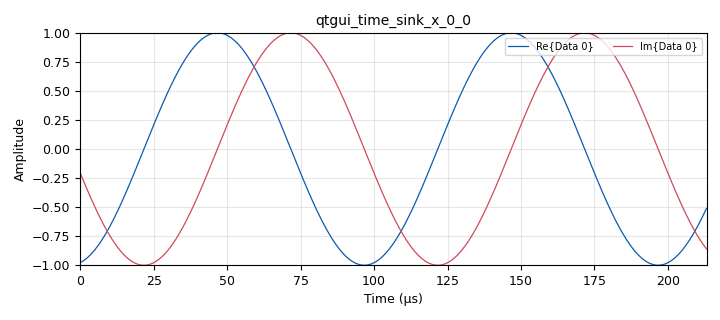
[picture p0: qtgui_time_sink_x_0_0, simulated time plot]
options:
  parameters:
    author: moon
    generate_options: qt_gui
    id: test1
    output_language: python
    title: test1
  states: {}

blocks:
- name: frequency
  id: variable_qtgui_range
  parameters:
    label: Frequency
    orient: Qt.Horizontal
    start: '-samp_rate/2'
    step: '10000'
    stop: samp_rate/2
    value: '10000'
  states: {}
- name: rx_gain
  id: variable_qtgui_range
  parameters:
    label: RX gain
    orient: Qt.Horizontal
    rangeType: int
    start: '0'
    step: '1'
    stop: '60'
    value: '20'
  states: {}
- name: samp_rate
  id: variable
  parameters:
    value: '4800000'
  states: {}
- name: analog_sig_source_x_0
  id: analog_sig_source_x
  parameters:
    amp: '1'
    freq: frequency
    offset: '0'
    phase: '0'
    samp_rate: samp_rate
    type: complex
    waveform: analog.GR_COS_WAVE
  states: {}
- name: blocks_rotator_cc_0
  id: blocks_rotator_cc
  parameters:
    phase_inc: '0.00001188'
  states: {state: disabled}
- name: blocks_throttle_0
  id: blocks_throttle
  parameters:
    samples_per_second: samp_rate
    type: complex
  states: {state: disabled}
- name: iio_fmcomms2_source_0
  id: iio_fmcomms2_source
  parameters:
    auto_filter: 'True'
    bandwidth: '20000000'
    bbdc: 'True'
    buffer_size: '32768'
    frequency: '2400000000'
    gain1: '''slow_attack'''
    gain2: '''slow_attack'''
    quadrature: 'True'
    rf_port_select: '''A_BALANCED'''
    rfdc: 'True'
    rx1_en: 'True'
    rx2_en: 'True'
    samplerate: samp_rate
    uri: 192.168.3.1
  states: {state: disabled}
- name: iio_pluto_sink_0
  id: iio_pluto_sink
  parameters:
    attenuation1: '10.0'
    auto_filter: 'True'
    bandwidth: '20000000'
    buffer_size: '32768'
    cyclic: 'True'
    frequency: '2400000000'
    samplerate: samp_rate
    uri: 192.168.2.1
  states: {}
- name: qtgui_const_sink_x_0
  id: qtgui_const_sink_x
  parameters:
    nconnections: '2'
    size: '1024'
    type: complex
  states: {state: disabled}
- name: qtgui_freq_sink_x_0
  id: qtgui_freq_sink_x
  parameters:
    bw: samp_rate
    fc: '0'
    fftsize: '1024'
    nconnections: '2'
    type: complex
    wintype: firdes.WIN_BLACKMAN_hARRIS
  states: {state: disabled}
- name: qtgui_time_sink_x_0
  id: qtgui_time_sink_x
  parameters:
    ctrlpanel: 'True'
    nconnections: '2'
    size: '1024'
    srate: samp_rate
    type: complex
  states: {state: disabled}
- name: qtgui_time_sink_x_0_0
  id: qtgui_time_sink_x
  parameters:
    ctrlpanel: 'True'
    size: '1024'
    srate: samp_rate
    type: complex
  states: {}

connections:
- [analog_sig_source_x_0, '0', iio_pluto_sink_0, '0']
- [analog_sig_source_x_0, '0', qtgui_time_sink_x_0_0, '0']
- [blocks_rotator_cc_0, '0', qtgui_time_sink_x_0, '1']
- [blocks_throttle_0, '0', blocks_rotator_cc_0, '0']
- [iio_fmcomms2_source_0, '0', qtgui_const_sink_x_0, '0']
- [iio_fmcomms2_source_0, '0', qtgui_freq_sink_x_0, '0']
- [iio_fmcomms2_source_0, '0', qtgui_time_sink_x_0, '0']
- [iio_fmcomms2_source_0, '1', blocks_throttle_0, '0']
- [iio_fmcomms2_source_0, '1', qtgui_const_sink_x_0, '1']
- [iio_fmcomms2_source_0, '1', qtgui_freq_sink_x_0, '1']

metadata:
  file_format: 1
